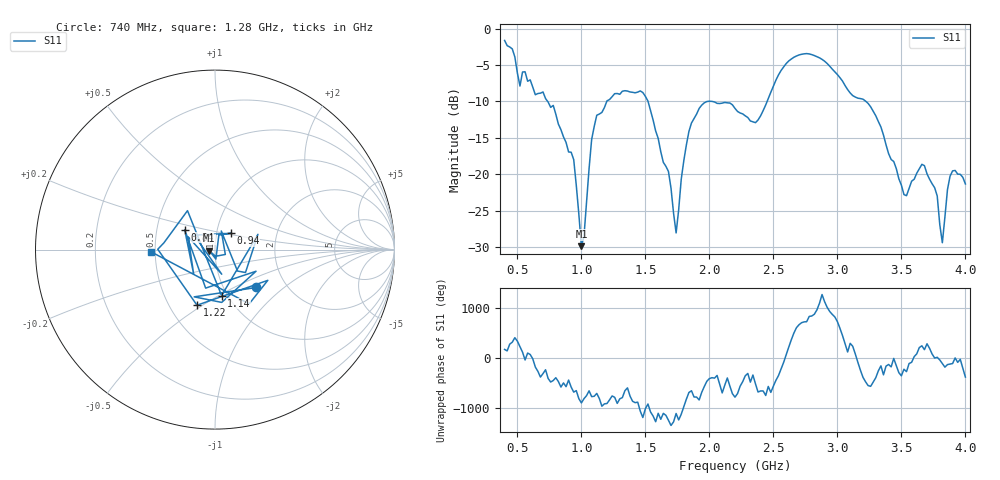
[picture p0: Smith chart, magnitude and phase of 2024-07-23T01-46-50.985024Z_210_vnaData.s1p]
!Created with skrf (http://scikit-rf.org).
# Hz S RI R 50.0
!freq ReS11 ImS11
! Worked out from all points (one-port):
!   181 points, 400 MHz to 4 GHz, reference 50 ohm
!   lowest |S11| = -29.9 dB at 1 GHz (marker M1), VSWR 1.07, Z = 46.9 - j0.587 ohm
!   |S11| at or under -10 dB: 736.1 MHz to 1.198 GHz (462.3 MHz wide, 47.8 % of centre); 1.521 GHz to 1.991 GHz (470.5 MHz wide, 26.8 % of centre); 3.222 GHz to end of sweep (the widest 3 of 4)
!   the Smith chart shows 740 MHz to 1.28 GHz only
!   S11 on the Smith chart (normalised r, x): 740 MHz: 1.42, -0.66; 840 MHz: 0.70, +0.16; 940 MHz: 1.17, +0.22; 1.14 GHz: 0.94, -0.52; 1.22 GHz: 0.68, -0.47; 1.28 GHz: 0.47, -0.01
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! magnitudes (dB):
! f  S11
! 400 MHz  -1.6
! 520 MHz  -7.9
! 740 MHz  -10.1
! 840 MHz  -13.9
! 860 MHz  -14.9
! 940 MHz  -18.0
! 1 GHz  -29.9
! 1.08 GHz  -15.2
! 1.14 GHz  -11.7
! 1.22 GHz  -9.7
! 1.28 GHz  -8.9
! 1.3 GHz  -9.0
! 1.52 GHz  -10.0
! 1.68 GHz  -19.6
! 1.74 GHz  -28.1
! 1.76 GHz  -24.9
! 1.84 GHz  -14.1
! 1.92 GHz  -11.0
! 2.2 GHz  -11.0
! 2.36 GHz  -12.9
! 2.66 GHz  -3.9
! 3.1 GHz  -8.9
! 3.56 GHz  -22.0
! 3.68 GHz  -18.8
! 3.78 GHz  -23.0
! 3.82 GHz  -29.4
! 3.88 GHz  -20.3
! 4 GHz  -21.3
